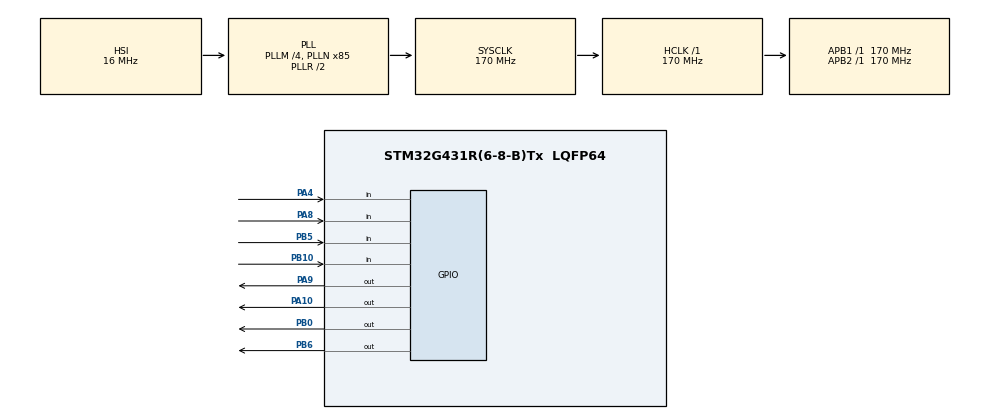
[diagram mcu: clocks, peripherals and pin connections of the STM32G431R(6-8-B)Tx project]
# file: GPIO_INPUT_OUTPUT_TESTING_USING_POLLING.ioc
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Mcu.Family=STM32G4
Mcu.Name=STM32G431R(6-8-B)Tx
Mcu.Package=LQFP64
NUCLEO-G431RB.BUTTON=1
NUCLEO-G431RB.LD1=true
NUCLEO-G431RB.VCP=true
NVIC.EXTI15_10_IRQn=true\:0\:0\:false\:false\:true\:false\:true\:true
NVIC.PriorityGroup=NVIC_PRIORITYGROUP_4
PA10.Signal=GPIO_Output
PA13.GPIO_Label=T_SWDIO
PA13.Signal=SYS_JTMS-SWDIO
PA14.GPIO_Label=T_SWCLK
PA14.Signal=SYS_JTCK-SWCLK
PA2.Signal=LPUART1_TX
PA3.Signal=LPUART1_RX
PA4.GPIO_PuPd=GPIO_PULLUP
PA4.Signal=GPIO_Input
PA8.GPIO_PuPd=GPIO_PULLUP
PA8.Signal=GPIO_Input
PA9.Signal=GPIO_Output
PB0.Signal=GPIO_Output
PB10.GPIO_PuPd=GPIO_PULLUP
PB10.Signal=GPIO_Input
PB3.GPIO_Label=T_SWO
PB3.Signal=SYS_JTDO-SWO
PB5.GPIO_PuPd=GPIO_PULLUP
PB5.Signal=GPIO_Input
PB6.Signal=GPIO_Output
PC14-OSC32_IN.GPIO_Label=RCC_OSC32_OUT
PC14-OSC32_IN.Signal=RCC_OSC32_IN
PC15-OSC32_OUT.GPIO_Label=RCC_OSC32_OUT
PC15-OSC32_OUT.Signal=RCC_OSC32_OUT
PF0-OSC_IN.GPIO_Label=RCC_OSC_IN
PF0-OSC_IN.Signal=RCC_OSC_IN
PF1-OSC_OUT.GPIO_Label=RCC_OSC_OUT
PF1-OSC_OUT.Signal=RCC_OSC_OUT
ProjectManager.HeapSize=0x200
ProjectManager.StackSize=0x400
ProjectManager.TargetToolchain=STM32CubeIDE
RCC.ADC12Freq_Value=170000000
RCC.AHBFreq_Value=170000000
RCC.APB1Freq_Value=170000000
RCC.APB1TimFreq_Value=170000000
RCC.APB2Freq_Value=170000000
RCC.APB2TimFreq_Value=170000000
RCC.CortexFreq_Value=170000000
RCC.EXTERNAL_CLOCK_VALUE=12288000
RCC.HCLKFreq_Value=170000000
RCC.HSE_VALUE=24000000
RCC.HSI48_VALUE=48000000
RCC.HSI_VALUE=16000000
RCC.LSE_VALUE=32768
RCC.PLLM=RCC_PLLM_DIV4
RCC.PLLN=85
RCC.RTCClockSelection=RCC_RTCCLKSOURCE_LSE
RCC.SYSCLKFreq_VALUE=170000000
RCC.SYSCLKSource=RCC_SYSCLKSOURCE_PLLCLK
RCC.USBFreq_Value=170000000
RCC.VCOOutputFreq_Value=340000000
VP_NUCLEO-G431RB_VS_BSP_COMMON.Mode=COMMON
VP_SYS_VS_DBSignals.Mode=DisableDeadBatterySignals
board=NUCLEO-G431RB

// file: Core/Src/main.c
/* USER CODE BEGIN Header */
/**
  ******************************************************************************
  * @file           : main.c
  * @brief          : Main program body
  ******************************************************************************
  * @attention
  *
  * Copyright (c) 2026 STMicroelectronics.
  * All rights reserved.
  *
  * This software is licensed under terms that can be found in the LICENSE file
  * in the root directory of this software component.
  * If no LICENSE file comes with this software, it is provided AS-IS.
  *
  ******************************************************************************
  */
/* USER CODE END Header */
#include "main.h"

COM_InitTypeDef BspCOMInit;

void SystemClock_Config(void);
static void MX_GPIO_Init(void);

int main(void)
{

  /* MCU Configuration--------------------------------------------------------*/

  /* Reset of all peripherals, Initializes the Flash interface and the Systick. */
  HAL_Init();

  /* Configure the system clock */
  SystemClock_Config();

  /* Initialize all configured peripherals */
  MX_GPIO_Init();

  /* Initialize leds */
  BSP_LED_Init(LED_GREEN);

  /* Initialize USER push-button, will be used to trigger an interrupt each time it's pressed.*/
  BSP_PB_Init(BUTTON_USER, BUTTON_MODE_EXTI);

  /* Initialize COM1 port (115200, 8 bits (7-bit data + 1 stop bit), no parity */
  BspCOMInit.BaudRate   = 115200;
  BspCOMInit.WordLength = COM_WORDLENGTH_8B;
  BspCOMInit.StopBits   = COM_STOPBITS_1;
  BspCOMInit.Parity     = COM_PARITY_NONE;
  BspCOMInit.HwFlowCtl  = COM_HWCONTROL_NONE;
  if (BSP_COM_Init(COM1, &BspCOMInit) != BSP_ERROR_NONE)
  {
    Error_Handler();
  }

  /* Infinite loop */
  while (1)
  {

    /* USER CODE BEGIN 3 */

	  /* Pair 1: PA4 (SW) -> PB0 (LED)
	             Switch is active-low (GPIO_PIN_RESET when closed) */
	          if (HAL_GPIO_ReadPin(GPIOA, GPIO_PIN_4) == GPIO_PIN_RESET)
	              HAL_GPIO_WritePin(GPIOB, GPIO_PIN_0, GPIO_PIN_SET);
	          else
	              HAL_GPIO_WritePin(GPIOB, GPIO_PIN_0, GPIO_PIN_RESET);

	          /* Pair 2: PA8 (SW) -> PA10 (LED) */
	          if (HAL_GPIO_ReadPin(GPIOA, GPIO_PIN_8) == GPIO_PIN_RESET)
	              HAL_GPIO_WritePin(GPIOA, GPIO_PIN_10, GPIO_PIN_SET);
	          else
	              HAL_GPIO_WritePin(GPIOA, GPIO_PIN_10, GPIO_PIN_RESET);

	          /* Pair 3: PB10 (SW) -> PA9 (LED) */
	          if (HAL_GPIO_ReadPin(GPIOB, GPIO_PIN_10) == GPIO_PIN_RESET)
	              HAL_GPIO_WritePin(GPIOA, GPIO_PIN_9, GPIO_PIN_SET);
	          else
	              HAL_GPIO_WritePin(GPIOA, GPIO_PIN_9, GPIO_PIN_RESET);

	          /* Pair 4: PB5 (SW) -> PB6 (LED) */
	          if (HAL_GPIO_ReadPin(GPIOB, GPIO_PIN_5) == GPIO_PIN_RESET)
	              HAL_GPIO_WritePin(GPIOB, GPIO_PIN_6, GPIO_PIN_SET);
	          else
	              HAL_GPIO_WritePin(GPIOB, GPIO_PIN_6, GPIO_PIN_RESET);

	          /* Optional: Add a small delay for software debouncing if needed */
	          // HAL_Delay(10);

  }
  /* USER CODE END 3 */
}

void SystemClock_Config(void)
{
  RCC_OscInitTypeDef RCC_OscInitStruct = {0};
  RCC_ClkInitTypeDef RCC_ClkInitStruct = {0};

  /** Configure the main internal regulator output voltage
  */
  HAL_PWREx_ControlVoltageScaling(PWR_REGULATOR_VOLTAGE_SCALE1_BOOST);

  /** Initializes the RCC Oscillators according to the specified parameters
  * in the RCC_OscInitTypeDef structure.
  */
  RCC_OscInitStruct.OscillatorType = RCC_OSCILLATORTYPE_HSI;
  RCC_OscInitStruct.HSIState = RCC_HSI_ON;
  RCC_OscInitStruct.HSICalibrationValue = RCC_HSICALIBRATION_DEFAULT;
  RCC_OscInitStruct.PLL.PLLState = RCC_PLL_ON;
  RCC_OscInitStruct.PLL.PLLSource = RCC_PLLSOURCE_HSI;
  RCC_OscInitStruct.PLL.PLLM = RCC_PLLM_DIV4;
  RCC_OscInitStruct.PLL.PLLN = 85;
  RCC_OscInitStruct.PLL.PLLP = RCC_PLLP_DIV2;
  RCC_OscInitStruct.PLL.PLLQ = RCC_PLLQ_DIV2;
  RCC_OscInitStruct.PLL.PLLR = RCC_PLLR_DIV2;
  if (HAL_RCC_OscConfig(&RCC_OscInitStruct) != HAL_OK)
  {
    Error_Handler();
  }

  /** Initializes the CPU, AHB and APB buses clocks
  */
  RCC_ClkInitStruct.ClockType = RCC_CLOCKTYPE_HCLK|RCC_CLOCKTYPE_SYSCLK
                              |RCC_CLOCKTYPE_PCLK1|RCC_CLOCKTYPE_PCLK2;
  RCC_ClkInitStruct.SYSCLKSource = RCC_SYSCLKSOURCE_PLLCLK;
  RCC_ClkInitStruct.AHBCLKDivider = RCC_SYSCLK_DIV1;
  RCC_ClkInitStruct.APB1CLKDivider = RCC_HCLK_DIV1;
  RCC_ClkInitStruct.APB2CLKDivider = RCC_HCLK_DIV1;

  if (HAL_RCC_ClockConfig(&RCC_ClkInitStruct, FLASH_LATENCY_4) != HAL_OK)
  {
    Error_Handler();
  }
}

static void MX_GPIO_Init(void)
{
  GPIO_InitTypeDef GPIO_InitStruct = {0};

  /* GPIO Ports Clock Enable */
  __HAL_RCC_GPIOC_CLK_ENABLE();
  __HAL_RCC_GPIOF_CLK_ENABLE();
  __HAL_RCC_GPIOA_CLK_ENABLE();
  __HAL_RCC_GPIOB_CLK_ENABLE();

  /*Configure GPIO pin Output Level */
  HAL_GPIO_WritePin(GPIOB, GPIO_PIN_0|GPIO_PIN_6, GPIO_PIN_RESET);

  /*Configure GPIO pin Output Level */
  HAL_GPIO_WritePin(GPIOA, GPIO_PIN_9|GPIO_PIN_10, GPIO_PIN_RESET);

  /*Configure GPIO pins : PA4 PA8 */
  GPIO_InitStruct.Pin = GPIO_PIN_4|GPIO_PIN_8;
  GPIO_InitStruct.Mode = GPIO_MODE_INPUT;
  GPIO_InitStruct.Pull = GPIO_PULLUP;
  HAL_GPIO_Init(GPIOA, &GPIO_InitStruct);

  /*Configure GPIO pins : PB0 PB6 */
  GPIO_InitStruct.Pin = GPIO_PIN_0|GPIO_PIN_6;
  GPIO_InitStruct.Mode = GPIO_MODE_OUTPUT_PP;
  GPIO_InitStruct.Pull = GPIO_NOPULL;
  GPIO_InitStruct.Speed = GPIO_SPEED_FREQ_LOW;
  HAL_GPIO_Init(GPIOB, &GPIO_InitStruct);

  /*Configure GPIO pins : PB10 PB5 */
  GPIO_InitStruct.Pin = GPIO_PIN_10|GPIO_PIN_5;
  GPIO_InitStruct.Mode = GPIO_MODE_INPUT;
  GPIO_InitStruct.Pull = GPIO_PULLUP;
  HAL_GPIO_Init(GPIOB, &GPIO_InitStruct);

  /*Configure GPIO pins : PA9 PA10 */
  GPIO_InitStruct.Pin = GPIO_PIN_9|GPIO_PIN_10;
  GPIO_InitStruct.Mode = GPIO_MODE_OUTPUT_PP;
  GPIO_InitStruct.Pull = GPIO_NOPULL;
  GPIO_InitStruct.Speed = GPIO_SPEED_FREQ_LOW;
  HAL_GPIO_Init(GPIOA, &GPIO_InitStruct);

}

void Error_Handler(void)
{
  __disable_irq();
  while (1)
  {
  }
}
